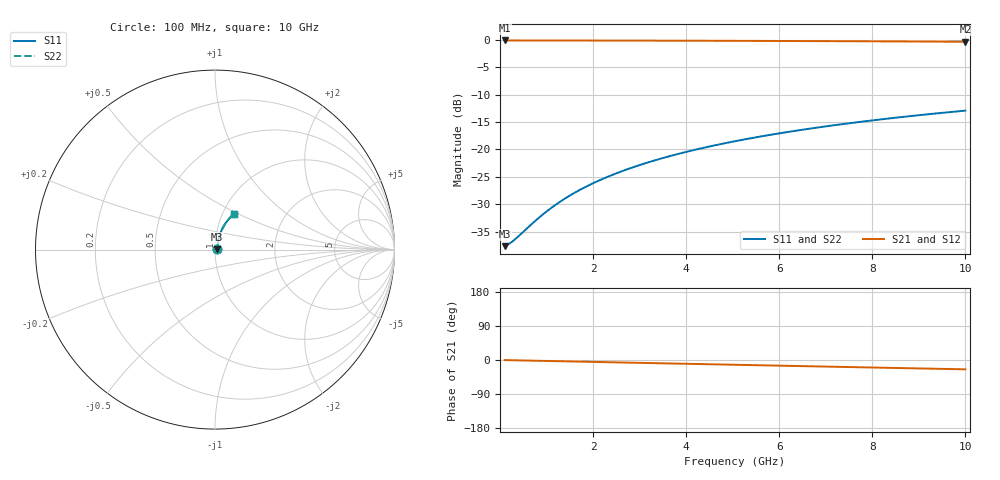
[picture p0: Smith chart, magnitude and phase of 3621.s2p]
# Hz S RI R 50.00
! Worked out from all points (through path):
!   100 points, 100 MHz to 10 GHz, reference 50 ohm
!   highest |S21| = -0.11 dB at 100 MHz (marker M1); lowest = -0.4 dB at 10 GHz (marker M2)
!   group delay of S21, straight-line fit = 6.85 ps
!   lowest |S11| = -37.6 dB at 100 MHz (marker M3), VSWR 1.03, Z = 51.3 + j0.237 ohm
!   |S11| at or under -10 dB: start of sweep to end of sweep
!   |S22| runs from -37.6 to -12.9 dB; largest |S21 - S12| = 0
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1e8  0.0129 0.00231  0.9871 -0.00432  0.9871 -0.00432  0.0129 0.00231
2e8  0.013 0.00463  0.987 -0.00863  0.987 -0.00863  0.013 0.00463
3e8  0.0131 0.00694  0.9868 -0.0129  0.9868 -0.0129  0.0131 0.00694
8e8  0.0139 0.0185  0.986 -0.0345  0.986 -0.0345  0.0139 0.0185
9e8  0.0141 0.0208  0.9857 -0.0388  0.9857 -0.0388  0.0141 0.0208
1.1e9  0.0145 0.0254  0.9852 -0.0474  0.9852 -0.0474  0.0145 0.0254
1.4e9  0.0154 0.0323  0.9842 -0.0603  0.9842 -0.0603  0.0154 0.0323
1.6e9  0.016 0.0368  0.9834 -0.0689  0.9834 -0.0689  0.016 0.0368
1.8e9  0.0167 0.0414  0.9826 -0.0774  0.9826 -0.0774  0.0167 0.0414
2.1e9  0.018 0.0482  0.9811 -0.0902  0.9811 -0.0902  0.018 0.0482
2.5e9  0.0199 0.0572  0.9788 -0.1073  0.9788 -0.1073  0.0199 0.0572
2.9e9  0.0221 0.0661  0.9762 -0.1242  0.9762 -0.1242  0.0221 0.0661
3.4e9  0.0253 0.0772  0.9723 -0.1453  0.9723 -0.1453  0.0253 0.0772
3.8e9  0.0282 0.0859  0.9689 -0.162  0.9689 -0.162  0.0282 0.0859
4.2e9  0.0313 0.0945  0.965 -0.1786  0.965 -0.1786  0.0313 0.0945
4.6e9  0.0348 0.1029  0.9608 -0.1951  0.9608 -0.1951  0.0348 0.1029
5.1e9  0.0395 0.1133  0.9551 -0.2155  0.9551 -0.2155  0.0395 0.1133
5.9e9  0.048 0.1294  0.9448 -0.2476  0.9448 -0.2476  0.048 0.1294
6.7e9  0.0575 0.1448  0.9333 -0.279  0.9333 -0.279  0.0575 0.1448
7.5e9  0.068 0.1594  0.9204 -0.3097  0.9204 -0.3097  0.068 0.1594
8.4e9  0.0809 0.1748  0.9046 -0.3433  0.9046 -0.3433  0.0809 0.1748
1e10  0.1062 0.1995  0.8731 -0.4001  0.8731 -0.4001  0.1062 0.1995
